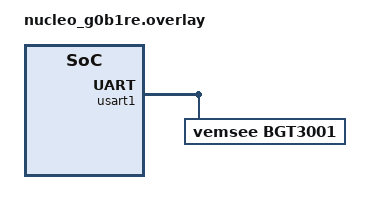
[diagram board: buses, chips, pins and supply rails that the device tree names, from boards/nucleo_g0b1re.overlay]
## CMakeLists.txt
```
# SPDX-License-Identifier: Apache-2.0

cmake_minimum_required(VERSION 3.20.0)
include($ENV{ZEPHYR_BASE}/cmake/app/boilerplate.cmake NO_POLICY_SCOPE)
project(bgt3001)

FILE(GLOB app_sources src/*.c)
target_sources(app PRIVATE ${app_sources})
```

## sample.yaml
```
#
# Copyright (c) 2021 G-Technologies Sdn. Bhd.
#
# SPDX-License-Identifier: Apache-2.0

common:
  build_only: true
  harness: sensor
  tags: sensors
  depends_on: serial
  filter: dt_compat_enabled("winsen,mhz19b")
  platform_allow: nucleo_g0b1re
  integration_platforms:
    - nucleo_g0b1re
  extra_args: DTC_OVERLAY_FILE="boards/nucleo_g0b1re.overlay"
sample:
  name: MH-Z19B CO2 sensor
tests:
  sample.sensor.mhz19b.pm_keep_awake:
    extra_configs:
      - CONFIG_UART_INTERRUPT_DRIVEN=y
      - CONFIG_PM=y
      - CONFIG_MHZ19B_KEEP_MCU_AWAKE=y
  sample.sensor.mhz19b.pm_no_keep_awake:
    extra_configs:
      - CONFIG_UART_INTERRUPT_DRIVEN=y
      - CONFIG_PM=y
  sample.sensor.mhz19b.normal:
    extra_configs:
      - CONFIG_UART_INTERRUPT_DRIVEN=y
```

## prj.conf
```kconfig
# CONFIG_STDOUT_CONSOLE=y
# CONFIG_SERIAL=y
CONFIG_BGT3001=y
CONFIG_UART_INTERRUPT_DRIVEN=y
CONFIG_SENSOR=y
CONFIG_SHELL=y
# CONFIG_NEWLIB_LIBC=y
# CONFIG_NEWLIB_LIBC_FLOAT_PRINTF=y
# CONFIG_CBPRINTF_FP_SUPPORT=y
```

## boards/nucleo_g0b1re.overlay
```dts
&usart1 {
	bgt3001 {
		compatible = "vemsee,bgt3001";
		label = "BGT3001";
		status= "okay";
	};
};
```

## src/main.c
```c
/*
 * Copyright (c) 2021 G-Technologies Sdn. Bhd.
 *
 * SPDX-License-Identifier: Apache-2.0
 */

#include <zephyr.h>
#include <stdio.h>
#include <stdlib.h>
#include <device.h>
#include <sys/printk.h>
#include <drivers/sensor.h>
#include <sys/reboot.h>
#include <drivers/gpio.h>
#include <init.h>
#include <sys/util.h>
#include <inttypes.h>


static struct sensor_value val[3];

int main(void)
{
	uint8_t rc;

	const struct device *dev =device_get_binding(DT_LABEL(DT_INST(0, vemsee_bgt3001)));

		if (!device_is_ready(dev)) {
		printk("sensor: device not found.\n");
		// sys_reboot(1);
		return 0;
	}
	while (1) {
	sensor_sample_fetch(dev);
	if (sensor_channel_get(dev, SENSOR_CHAN_SOIL_NPK, val) != 0) {
			printk("sensor: channel get fail.\n");
			// return;
		}
	printk("N %.1f mg/kg\t P:%.1f mg/kg\tK:%.1f mg/kg\r\n",sensor_value_to_double(&val[0]),
						sensor_value_to_double(&val[1]),
						sensor_value_to_double(&val[2]));

	k_msleep(1000);
	}
}
```
